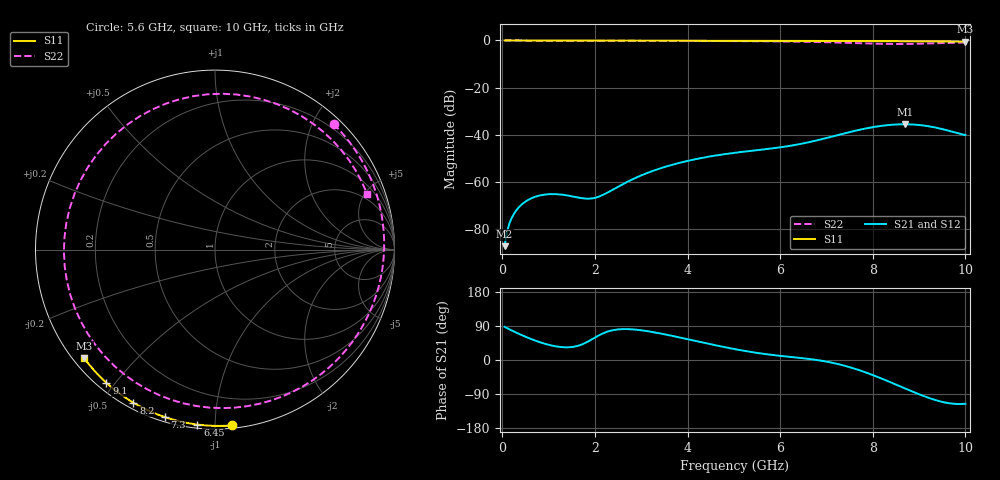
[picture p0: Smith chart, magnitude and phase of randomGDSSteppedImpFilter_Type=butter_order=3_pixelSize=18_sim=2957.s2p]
! freq	dB(S11)	phase(S11)	dB(S12)	phase(S12)
!  dB(S21)	phase(S21)	dB(S22)	phase(S22)
!S-par simulation data
#  GHz  S  DB  R 50
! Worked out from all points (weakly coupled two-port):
!   200 points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, 50 MHz to 10 GHz, reference 50 ohm
!   highest |S21| = -35.59 dB at 8.7 GHz (marker M1); lowest = -87.3 dB at 50 MHz (marker M2)
!   lowest |S11| = -0.5 dB at 10 GHz (marker M3), VSWR 36.65, Z = 1.54 - j18.1 ohm
!   |S11| at or under -10 dB: nowhere
!   |S22| runs from -1.5 to 0.0 dB; largest |S21 - S12| = 0
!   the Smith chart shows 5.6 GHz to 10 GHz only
!   S11 on the Smith chart (normalised r, x): 5.6 GHz: 0.02, -1.10; 6.45 GHz: 0.02, -0.90; 7.3 GHz: 0.02, -0.74; 8.2 GHz: 0.02, -0.60; 9.1 GHz: 0.03, -0.48; 10 GHz: 0.03, -0.36
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0.05  -0.00 -0.8  -87.35 87.6  -87.35 87.6  -0.00 -5.3
0.4  -0.01 -6.5  -69.99 66.8  -69.99 66.8  -0.05 -40.7
0.8  -0.02 -12.9  -65.87 47.4  -65.87 47.4  -0.09 -76.9
1.2  -0.03 -19.3  -65.31 35.2  -65.31 35.2  -0.11 -107.3
1.75  -0.04 -28.0  -67.05 42.6  -67.05 42.6  -0.12 -141.1
2.05  -0.04 -32.7  -66.54 62.6  -66.54 62.6  -0.13 -156.7
2.5  -0.05 -39.6  -62.12 80.8  -62.12 80.8  -0.13 -177.7
3.4  -0.07 -53.2  -54.39 70.3  -54.39 70.3  -0.16 144.5
4.3  -0.09 -66.3  -49.92 46.9  -49.92 46.9  -0.20 107.5
5.05  -0.12 -76.9  -47.62 28.0  -47.62 28.0  -0.27 74.1
5.6  -0.14 -84.4  -46.36 16.9  -46.36 16.9  -0.34 46.7
6.05  -0.16 -90.5  -45.25 10.3  -45.25 10.3  -0.42 21.7
6.45  -0.18 -95.7  -43.91 5.2  -43.91 5.2  -0.53 -3.0
6.7  -0.19 -99.0  -42.86 1.6  -42.86 1.6  -0.62 -19.8
7.3  -0.23 -106.7  -39.89 -12.2  -39.89 -12.2  -0.92 -65.7
7.75  -0.26 -112.4  -37.77 -28.6  -37.77 -28.6  -1.19 -106.0
8.2  -0.30 -118.0  -36.23 -49.4  -36.23 -49.4  -1.43 -151.8
8.35  -0.31 -119.9  -35.90 -57.0  -35.90 -57.0  -1.48 -168.1
8.7  -0.34 -124.2  -35.59 -75.2  -35.59 -75.2  -1.49 152.8
9.1  -0.38 -129.1  -36.12 -95.2  -36.12 -95.2  -1.33 108.5
9.5  -0.42 -134.0  -37.63 -110.6  -37.63 -110.6  -1.10 66.9
10  -0.47 -140.2  -40.17 -115.5  -40.17 -115.5  -0.89 20.2
